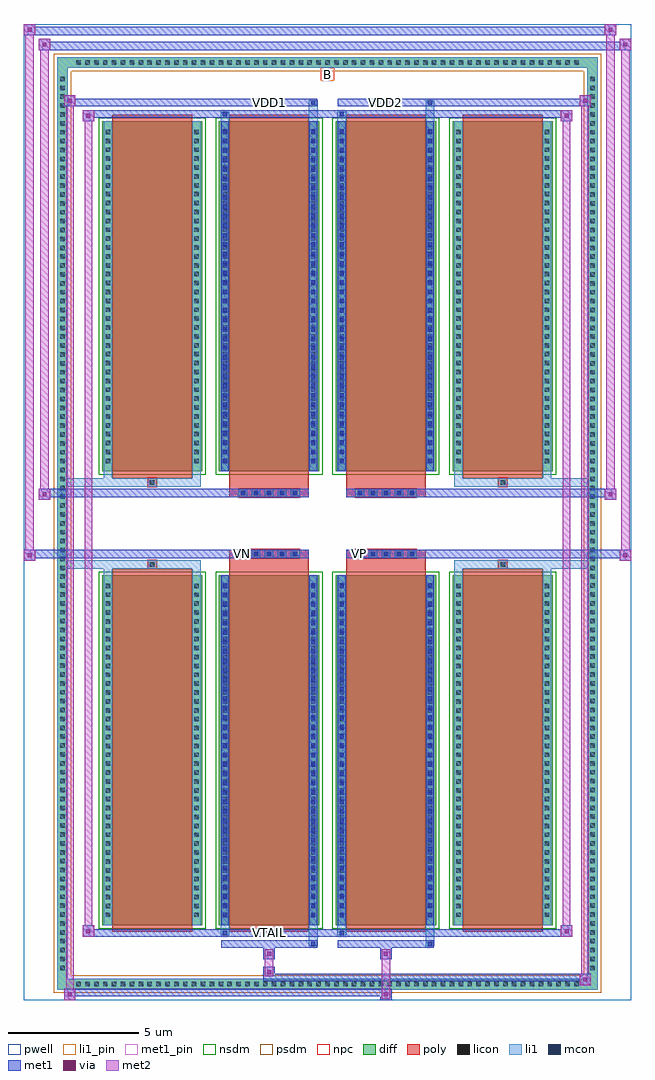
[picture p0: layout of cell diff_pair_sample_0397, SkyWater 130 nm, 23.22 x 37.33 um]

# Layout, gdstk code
import gdstk
lib = gdstk.Library(unit=1e-6, precision=5e-09)
def R(c, l, rs):  # rectangles x0, y0, x1, y1
    for r in rs: c.add(gdstk.rectangle(r[:2], r[2:], *l))
def A(c, l, x, y, w, h, nx, ny, dx, dy):  # array of equal rectangles
    R(c, l, [(x+i*dx, y+j*dy, x+i*dx+w, y+j*dy+h) for i in range(nx) for j in range(ny)])
def P(c, l, *ps):  # polygons
    for p in ps: c.add(gdstk.Polygon(p, *l))
pwell = (64, 44)
diff = (65, 20)
poly = (66, 20)
licon = (66, 44)
li1_pin = (67, 16)
li1 = (67, 20)
mcon = (67, 44)
met1_pin = (68, 16)
met1 = (68, 20)
via = (68, 44)
met2 = (69, 20)
nsdm = (93, 44)
psdm = (94, 20)
npc = (95, 20)

diff_pair_sample_0397 = lib.new_cell('diff_pair_sample_0397')
R(diff_pair_sample_0397, pwell, [(-11.61,-18.23,11.61,19.1), (-8.93,-16.42,-0.01,-0.8), (0.01,-16.42,8.93,-0.8), (-8.93,0.8,-0.01,16.42), (0.01,0.8,8.93,16.42)])
A(diff_pair_sample_0397, diff, -9.725, -17.83, 0.41, 0.41, 57, 2, 0.34, 35.25)
A(diff_pair_sample_0397, diff, -10.34, -17.205, 0.41, 0.41, 1, 101, 0, 0.34)
A(diff_pair_sample_0397, diff, 9.93, -17.205, 0.41, 0.41, 1, 101, 0, 0.34)
A(diff_pair_sample_0397, diff, -8.62, -15.375, 3.83, 13.39, 4, 2, 4.47, 17.36)
R(diff_pair_sample_0397, diff, [(-9.725,-17.83,9.725,-17.42), (-10.34,-17.205,-9.93,17.205), (9.93,-17.205,10.34,17.205), (-9.725,17.42,9.725,17.83)])
P(diff_pair_sample_0397, diff, [(10.34,17.83),(-10.34,17.83),(-10.34,-17.42),(-9.93,-17.42),(-9.93,17.42),(9.93,17.42),(9.93,-17.42),(-9.93,-17.42),(-10.34,-17.42),(-10.34,-17.83),(10.34,-17.83)])
A(diff_pair_sample_0397, poly, -8.23, -15.625, 3.05, 13.89, 4, 2, 4.47, 17.36)
A(diff_pair_sample_0397, poly, -3.4, -1.33, 0.33, 0.33, 5, 2, 0.5, 2.33)
A(diff_pair_sample_0397, poly, 1.07, -1.33, 0.33, 0.33, 5, 2, 0.5, 2.33)
R(diff_pair_sample_0397, poly, [(-6.87,-1.735,-6.54,-1.405), (-6.87,-1.735,-6.54,-1.405), (-3.76,-1.735,-0.71,-1.33), (0.71,-1.735,3.76,-1.33), (6.54,-1.735,6.87,-1.405), (6.54,-1.735,6.87,-1.405), (-3.76,-1.33,-0.71,-1), (0.71,-1.33,3.76,-1), (-3.76,1,-0.71,1.33), (0.71,1,3.76,1.33), (-3.76,1.33,-0.71,1.735), (0.71,1.33,3.76,1.735), (-6.87,1.405,-6.54,1.735), (-6.87,1.405,-6.54,1.735), (6.54,1.405,6.87,1.735), (6.54,1.405,6.87,1.735)])
A(diff_pair_sample_0397, licon, -9.605, -17.71, 0.17, 0.17, 57, 2, 0.34, 35.25)
A(diff_pair_sample_0397, licon, -10.22, -17.085, 0.17, 0.17, 1, 101, 0, 0.34)
A(diff_pair_sample_0397, licon, 10.05, -17.085, 0.17, 0.17, 1, 101, 0, 0.34)
A(diff_pair_sample_0397, licon, -8.48, -15.055, 0.17, 0.17, 1, 38, 0, 0.34)
A(diff_pair_sample_0397, licon, -5.1, -15.055, 0.17, 0.17, 1, 38, 0, 0.34)
A(diff_pair_sample_0397, licon, -4.01, -15.055, 0.17, 0.17, 1, 38, 0, 0.34)
A(diff_pair_sample_0397, licon, -0.63, -15.055, 0.17, 0.17, 1, 38, 0, 0.34)
A(diff_pair_sample_0397, licon, 0.46, -15.055, 0.17, 0.17, 1, 38, 0, 0.34)
A(diff_pair_sample_0397, licon, 3.84, -15.055, 0.17, 0.17, 1, 38, 0, 0.34)
A(diff_pair_sample_0397, licon, 4.93, -15.055, 0.17, 0.17, 1, 38, 0, 0.34)
A(diff_pair_sample_0397, licon, 8.31, -15.055, 0.17, 0.17, 1, 38, 0, 0.34)
A(diff_pair_sample_0397, licon, -3.32, -1.25, 0.17, 0.17, 5, 2, 0.5, 2.33)
A(diff_pair_sample_0397, licon, 1.15, -1.25, 0.17, 0.17, 5, 2, 0.5, 2.33)
A(diff_pair_sample_0397, licon, -8.48, 2.305, 0.17, 0.17, 1, 38, 0, 0.34)
A(diff_pair_sample_0397, licon, -5.1, 2.305, 0.17, 0.17, 1, 38, 0, 0.34)
A(diff_pair_sample_0397, licon, -4.01, 2.305, 0.17, 0.17, 1, 38, 0, 0.34)
A(diff_pair_sample_0397, licon, -0.63, 2.305, 0.17, 0.17, 1, 38, 0, 0.34)
A(diff_pair_sample_0397, licon, 0.46, 2.305, 0.17, 0.17, 1, 38, 0, 0.34)
A(diff_pair_sample_0397, licon, 3.84, 2.305, 0.17, 0.17, 1, 38, 0, 0.34)
A(diff_pair_sample_0397, licon, 4.93, 2.305, 0.17, 0.17, 1, 38, 0, 0.34)
A(diff_pair_sample_0397, licon, 8.31, 2.305, 0.17, 0.17, 1, 38, 0, 0.34)
R(diff_pair_sample_0397, licon, [(-6.79,-1.655,-6.62,-1.485), (6.62,-1.655,6.79,-1.485), (-6.79,1.485,-6.62,1.655), (6.62,1.485,6.79,1.655)])
R(diff_pair_sample_0397, li1_pin, [(-0.25,16.92,0.25,17.42)])
A(diff_pair_sample_0397, li1, -9.685, -17.79, 0.33, 0.33, 57, 2, 0.34, 35.25)
A(diff_pair_sample_0397, li1, -10.3, -17.165, 0.33, 0.33, 1, 101, 0, 0.34)
A(diff_pair_sample_0397, li1, 9.97, -17.165, 0.33, 0.33, 1, 101, 0, 0.34)
A(diff_pair_sample_0397, li1, -8.56, -15.135, 0.33, 0.33, 1, 38, 0, 0.34)
A(diff_pair_sample_0397, li1, -5.18, -15.135, 0.33, 0.33, 1, 38, 0, 0.34)
A(diff_pair_sample_0397, li1, -4.09, -15.135, 0.33, 0.33, 1, 38, 0, 0.34)
A(diff_pair_sample_0397, li1, -0.71, -15.135, 0.33, 0.33, 1, 38, 0, 0.34)
A(diff_pair_sample_0397, li1, 0.38, -15.135, 0.33, 0.33, 1, 38, 0, 0.34)
A(diff_pair_sample_0397, li1, 3.76, -15.135, 0.33, 0.33, 1, 38, 0, 0.34)
A(diff_pair_sample_0397, li1, 4.85, -15.135, 0.33, 0.33, 1, 38, 0, 0.34)
A(diff_pair_sample_0397, li1, 8.23, -15.135, 0.33, 0.33, 1, 38, 0, 0.34)
A(diff_pair_sample_0397, li1, -4.01, -15.065, 0.17, 0.17, 1, 36, 0, 0.36)
A(diff_pair_sample_0397, li1, -0.63, -15.065, 0.17, 0.17, 1, 36, 0, 0.36)
A(diff_pair_sample_0397, li1, 0.46, -15.065, 0.17, 0.17, 1, 36, 0, 0.36)
A(diff_pair_sample_0397, li1, 3.84, -15.065, 0.17, 0.17, 1, 36, 0, 0.36)
A(diff_pair_sample_0397, li1, -3.4, -1.33, 0.33, 0.33, 5, 2, 0.5, 2.33)
A(diff_pair_sample_0397, li1, 1.07, -1.33, 0.33, 0.33, 5, 2, 0.5, 2.33)
A(diff_pair_sample_0397, li1, -8.56, 2.225, 0.33, 0.33, 1, 38, 0, 0.34)
A(diff_pair_sample_0397, li1, -5.18, 2.225, 0.33, 0.33, 1, 38, 0, 0.34)
A(diff_pair_sample_0397, li1, -4.09, 2.225, 0.33, 0.33, 1, 38, 0, 0.34)
A(diff_pair_sample_0397, li1, -0.71, 2.225, 0.33, 0.33, 1, 38, 0, 0.34)
A(diff_pair_sample_0397, li1, 0.38, 2.225, 0.33, 0.33, 1, 38, 0, 0.34)
A(diff_pair_sample_0397, li1, 3.76, 2.225, 0.33, 0.33, 1, 38, 0, 0.34)
A(diff_pair_sample_0397, li1, 4.85, 2.225, 0.33, 0.33, 1, 38, 0, 0.34)
A(diff_pair_sample_0397, li1, 8.23, 2.225, 0.33, 0.33, 1, 38, 0, 0.34)
A(diff_pair_sample_0397, li1, -4.01, 2.295, 0.17, 0.17, 1, 36, 0, 0.36)
A(diff_pair_sample_0397, li1, -0.63, 2.295, 0.17, 0.17, 1, 36, 0, 0.36)
A(diff_pair_sample_0397, li1, 0.46, 2.295, 0.17, 0.17, 1, 36, 0, 0.36)
A(diff_pair_sample_0397, li1, 3.84, 2.295, 0.17, 0.17, 1, 36, 0, 0.36)
R(diff_pair_sample_0397, li1, [(-10.34,-17.83,-9.93,-17.42), (-10.34,-17.83,-9.93,-17.42), (-9.93,-17.83,9.93,-17.42), (9.93,-17.83,10.34,-17.42), (9.93,-17.83,10.34,-17.42), (-10.34,-17.42,-9.93,17.42), (9.93,-17.42,10.34,17.42), (-0.71,-16.18,-0.38,-15.375), (-0.63,-16.18,-0.46,-16.01), (3.76,-16.18,4.09,-15.375), (3.84,-16.18,4.01,-16.01), (-4.09,-15.75,-3.76,-15.375), (-4.01,-15.75,-3.84,-15.58), (0.38,-15.75,0.71,-15.375), (0.46,-15.75,0.63,-15.58), (-8.56,-15.375,-8.23,-1.985), (-5.18,-15.375,-4.85,-1.985), (-4.09,-15.375,-3.76,-1.985), (-0.71,-15.375,-0.38,-1.985), (0.38,-15.375,0.71,-1.985), (3.76,-15.375,4.09,-1.985), (4.85,-15.375,5.18,-1.985), (8.23,-15.375,8.56,-1.985), (-4.01,-15.065,-3.84,-2.295), (-0.63,-15.065,-0.46,-2.295), (0.46,-15.065,0.63,-2.295), (3.84,-15.065,4.01,-2.295), (-8.56,-1.985,-8.23,-1.405), (-5.18,-1.985,-4.85,-1.405), (4.85,-1.985,5.18,-1.405), (8.23,-1.985,8.56,-1.405), (-10.34,-1.735,-6.87,-1.405), (-8.56,-1.735,-6.87,-1.405), (-6.87,-1.735,-6.54,-1.405), (-6.54,-1.735,-4.85,-1.405), (4.85,-1.735,6.54,-1.405), (6.54,-1.735,6.87,-1.405), (6.54,-1.735,10.34,-1.405), (6.87,-1.735,8.56,-1.405), (-10.34,1.405,-6.87,1.735), (-8.56,1.405,-6.87,1.735), (-8.56,1.405,-8.23,1.985), (-6.87,1.405,-6.54,1.735), (-6.54,1.405,-4.85,1.735), (-5.18,1.405,-4.85,1.985), (4.85,1.405,6.54,1.735), (4.85,1.405,5.18,1.985), (6.54,1.405,6.87,1.735), (6.54,1.405,10.34,1.735), (6.87,1.405,8.56,1.735), (8.23,1.405,8.56,1.985), (-8.56,1.985,-8.23,15.375), (-5.18,1.985,-4.85,15.375), (-4.09,1.985,-3.76,15.375), (-0.71,1.985,-0.38,15.375), (0.38,1.985,0.71,15.375), (3.76,1.985,4.09,15.375), (4.85,1.985,5.18,15.375), (8.23,1.985,8.56,15.375), (-4.01,2.295,-3.84,15.065), (-0.63,2.295,-0.46,15.065), (0.46,2.295,0.63,15.065), (3.84,2.295,4.01,15.065), (-4.09,15.375,-3.76,15.75), (-0.71,15.375,-0.38,16.18), (0.38,15.375,0.71,15.75), (3.76,15.375,4.09,16.18), (-4.01,15.58,-3.84,15.75), (0.46,15.58,0.63,15.75), (-0.63,16.01,-0.46,16.18), (3.84,16.01,4.01,16.18), (-10.34,17.42,-9.93,17.83), (-10.34,17.42,-9.93,17.83), (-9.93,17.42,9.93,17.83), (9.93,17.42,10.34,17.83), (9.93,17.42,10.34,17.83)])
A(diff_pair_sample_0397, mcon, -4.01, -15.065, 0.17, 0.17, 1, 36, 0, 0.36)
A(diff_pair_sample_0397, mcon, -0.63, -15.065, 0.17, 0.17, 1, 36, 0, 0.36)
A(diff_pair_sample_0397, mcon, 0.46, -15.065, 0.17, 0.17, 1, 36, 0, 0.36)
A(diff_pair_sample_0397, mcon, 3.84, -15.065, 0.17, 0.17, 1, 36, 0, 0.36)
A(diff_pair_sample_0397, mcon, -3.32, -1.25, 0.17, 0.17, 5, 2, 0.5, 2.33)
A(diff_pair_sample_0397, mcon, 1.15, -1.25, 0.17, 0.17, 5, 2, 0.5, 2.33)
A(diff_pair_sample_0397, mcon, -4.01, 2.295, 0.17, 0.17, 1, 36, 0, 0.36)
A(diff_pair_sample_0397, mcon, -0.63, 2.295, 0.17, 0.17, 1, 36, 0, 0.36)
A(diff_pair_sample_0397, mcon, 0.46, 2.295, 0.17, 0.17, 1, 36, 0, 0.36)
A(diff_pair_sample_0397, mcon, 3.84, 2.295, 0.17, 0.17, 1, 36, 0, 0.36)
R(diff_pair_sample_0397, mcon, [(-0.63,-16.18,-0.46,-16.01), (3.84,-16.18,4.01,-16.01), (-4.01,-15.75,-3.84,-15.58), (0.46,-15.75,0.63,-15.58), (-4.01,15.58,-3.84,15.75), (0.46,15.58,0.63,15.75), (-0.63,16.01,-0.46,16.18), (3.84,16.01,4.01,16.18)])
R(diff_pair_sample_0397, met1_pin, [(-2.37,-15.79,-2.1,-15.52), (-3.37,-1.29,-3.1,-1.02), (1.1,-1.29,1.37,-1.02), (-2.37,15.97,-2.1,16.24), (2.1,15.97,2.37,16.24)])
A(diff_pair_sample_0397, met1, -4.07, -15.125, 0.29, 0.29, 1, 36, 0, 0.36)
A(diff_pair_sample_0397, met1, -0.69, -15.125, 0.29, 0.29, 1, 36, 0, 0.36)
A(diff_pair_sample_0397, met1, 0.4, -15.125, 0.29, 0.29, 1, 36, 0, 0.36)
A(diff_pair_sample_0397, met1, 3.78, -15.125, 0.29, 0.29, 1, 36, 0, 0.36)
A(diff_pair_sample_0397, met1, -3.38, -1.31, 0.29, 0.29, 5, 2, 0.5, 2.33)
A(diff_pair_sample_0397, met1, 1.09, -1.31, 0.29, 0.29, 5, 2, 0.5, 2.33)
A(diff_pair_sample_0397, met1, -4.07, 2.235, 0.29, 0.29, 1, 36, 0, 0.36)
A(diff_pair_sample_0397, met1, -0.69, 2.235, 0.29, 0.29, 1, 36, 0, 0.36)
A(diff_pair_sample_0397, met1, 0.4, 2.235, 0.29, 0.29, 1, 36, 0, 0.36)
A(diff_pair_sample_0397, met1, 3.78, 2.235, 0.29, 0.29, 1, 36, 0, 0.36)
R(diff_pair_sample_0397, met1, [(-10.07,-18.23,-9.64,-17.8), (2.02,-18.23,2.45,-17.8), (-10.07,-18.09,2.45,-17.8), (9.64,-17.66,10.07,-17.23), (-2.45,-17.52,10.07,-17.23), (-2.45,-17.38,-2.02,-16.95), (-2.45,-16.67,-2.02,-16.24), (2.02,-16.67,2.45,-16.24), (-4.07,-16.24,-0.4,-15.95), (-0.69,-16.24,-0.4,-15.95), (0.4,-16.24,4.07,-15.95), (3.78,-16.24,4.07,-15.95), (-9.36,-15.81,-8.93,-15.38), (-9.36,-15.81,-4.07,-15.52), (-4.07,-15.81,-3.78,-15.52), (-4.07,-15.81,-0.4,-15.52), (-0.4,-15.81,0.4,-15.52), (0.4,-15.81,0.69,-15.52), (0.4,-15.81,4.07,-15.52), (4.07,-15.81,9.36,-15.52), (8.93,-15.81,9.36,-15.38), (-4.07,-15.375,-3.78,-1.985), (-0.69,-15.375,-0.4,-1.985), (0.4,-15.375,0.69,-1.985), (3.78,-15.375,4.07,-1.985), (-11.61,-1.43,-11.18,-1), (11.18,-1.43,11.61,-1), (-11.61,-1.33,-0.71,-1), (-3.76,-1.33,-0.71,-1), (0.71,-1.33,3.76,-1), (0.71,-1.33,11.61,-1), (-11.04,0.9,-10.61,1.33), (10.61,0.9,11.04,1.33), (-11.04,1,-3.76,1.33), (-3.76,1,-0.71,1.33), (0.71,1,3.76,1.33), (3.76,1,11.04,1.33), (-4.07,1.985,-3.78,15.375), (-0.69,1.985,-0.4,15.375), (0.4,1.985,0.69,15.375), (3.78,1.985,4.07,15.375), (-9.36,15.38,-8.93,15.81), (8.93,15.38,9.36,15.81), (-9.36,15.52,-4.07,15.81), (-4.07,15.52,-3.78,15.81), (-4.07,15.52,-0.4,15.81), (-0.4,15.52,0.4,15.81), (0.4,15.52,0.69,15.81), (0.4,15.52,4.07,15.81), (4.07,15.52,9.36,15.81), (-10.07,15.95,-9.64,16.38), (-10.07,15.95,-4.07,16.24), (-4.07,15.95,-0.4,16.24), (-0.69,15.95,-0.4,16.24), (0.4,15.95,4.07,16.24), (3.78,15.95,4.07,16.24), (4.07,15.95,10.07,16.24), (9.64,15.95,10.07,16.38), (-11.04,18.1,-10.61,18.53), (-11.04,18.1,-8.93,18.43), (-8.93,18.1,8.93,18.43), (8.93,18.1,11.61,18.43), (11.18,18.1,11.61,18.53), (-11.61,18.67,-11.18,19.1), (-11.61,18.67,-8.93,19), (-8.93,18.67,8.93,19), (8.93,18.67,11.04,19), (10.61,18.67,11.04,19.1)])
R(diff_pair_sample_0397, via, [(-9.93,-18.09,-9.78,-17.94), (2.16,-18.09,2.31,-17.94), (9.78,-17.52,9.93,-17.37), (-2.31,-17.24,-2.16,-17.09), (-2.31,-16.53,-2.16,-16.38), (2.16,-16.53,2.31,-16.38), (-9.22,-15.67,-9.07,-15.52), (9.07,-15.67,9.22,-15.52), (-11.47,-1.29,-11.32,-1.14), (11.32,-1.29,11.47,-1.14), (-10.9,1.04,-10.75,1.19), (10.75,1.04,10.9,1.19), (-9.22,15.52,-9.07,15.67), (9.07,15.52,9.22,15.67), (-9.93,16.09,-9.78,16.24), (9.78,16.09,9.93,16.24), (-10.9,18.24,-10.75,18.39), (11.32,18.24,11.47,18.39), (-11.47,18.81,-11.32,18.96), (10.75,18.81,10.9,18.96)])
R(diff_pair_sample_0397, met2, [(-10.07,-18.23,-9.64,-17.8), (-10,-18.23,-9.71,16.38), (-9.71,-18.23,-9.64,-17.8), (-10.02,-18.18,-9.69,-17.85), (2.07,-18.18,2.4,-17.85), (2.07,-17.85,2.4,-16.62), (9.64,-17.66,10.07,-17.23), (9.71,-17.66,10,16.38), (10,-17.66,10.07,-17.23), (9.69,-17.61,10.02,-17.28), (-2.4,-17.33,-2.07,-17), (-2.4,-17,-2.07,-16.62), (-2.4,-16.62,-2.07,-16.29), (2.07,-16.62,2.4,-16.29), (-9.36,-15.81,-8.93,-15.38), (-9.29,-15.81,-9,15.81), (-9,-15.81,-8.93,-15.38), (8.93,-15.81,9.36,-15.38), (9,-15.81,9.29,15.81), (9.29,-15.81,9.36,-15.38), (-9.31,-15.76,-8.98,-15.43), (8.98,-15.76,9.31,-15.43), (-11.61,-1.43,-11.18,-1), (-11.56,-1.43,-11.23,19.1), (-11.23,-1.43,-11.18,-1), (11.18,-1.43,11.61,-1), (11.23,-1.43,11.56,18.53), (11.56,-1.43,11.61,-1), (-11.56,-1.38,-11.23,-1.05), (11.23,-1.38,11.56,-1.05), (-11.04,0.9,-10.61,1.33), (-10.99,0.9,-10.66,18.53), (-10.66,0.9,-10.61,1.33), (10.61,0.9,11.04,1.33), (10.66,0.9,10.99,19.1), (10.99,0.9,11.04,1.33), (-10.99,0.95,-10.66,1.28), (10.66,0.95,10.99,1.28), (-9.36,15.38,-8.93,15.81), (-9,15.38,-8.93,15.81), (8.93,15.38,9.36,15.81), (9.29,15.38,9.36,15.81), (-9.31,15.43,-8.98,15.76), (8.98,15.43,9.31,15.76), (-10.07,15.95,-9.64,16.38), (-9.71,15.95,-9.64,16.38), (9.64,15.95,10.07,16.38), (10,15.95,10.07,16.38), (-10.02,16,-9.69,16.33), (9.69,16,10.02,16.33), (-11.04,18.1,-10.61,18.53), (-10.66,18.1,-10.61,18.53), (11.18,18.1,11.61,18.53), (11.56,18.1,11.61,18.53), (-10.99,18.15,-10.66,18.48), (11.23,18.15,11.56,18.48), (-11.61,18.67,-11.18,19.1), (-11.23,18.67,-11.18,19.1), (10.61,18.67,11.04,19.1), (10.99,18.67,11.04,19.1), (-11.56,18.72,-11.23,19.05), (10.66,18.72,10.99,19.05)])
A(diff_pair_sample_0397, nsdm, -8.75, -15.505, 4.09, 13.65, 4, 2, 4.47, 17.36)
P(diff_pair_sample_0397, psdm, [(10.47,17.96),(-10.47,17.96),(-10.47,-17.29),(-9.8,-17.29),(-9.8,17.29),(9.8,17.29),(9.8,-17.29),(-9.8,-17.29),(-10.47,-17.29),(-10.47,-17.96),(10.47,-17.96)])
A(diff_pair_sample_0397, npc, -3.42, -1.35, 0.37, 0.37, 5, 2, 0.5, 2.33)
A(diff_pair_sample_0397, npc, 1.05, -1.35, 0.37, 0.37, 5, 2, 0.5, 2.33)
R(diff_pair_sample_0397, npc, [(-6.89,-1.755,-6.52,-1.385), (6.52,-1.755,6.89,-1.385), (-3.42,-1.35,-2.55,-0.98), (-3.42,-1.35,-2.55,-0.98), (-2.92,-1.35,-2.05,-0.98), (-2.92,-1.35,-2.05,-0.98), (-2.42,-1.35,-1.55,-0.98), (-2.42,-1.35,-1.55,-0.98), (-1.92,-1.35,-1.05,-0.98), (-1.92,-1.35,-1.05,-0.98), (1.05,-1.35,1.92,-0.98), (1.05,-1.35,1.92,-0.98), (1.55,-1.35,2.42,-0.98), (1.55,-1.35,2.42,-0.98), (2.05,-1.35,2.92,-0.98), (2.05,-1.35,2.92,-0.98), (2.55,-1.35,3.42,-0.98), (2.55,-1.35,3.42,-0.98), (-3.42,0.98,-2.55,1.35), (-3.42,0.98,-2.55,1.35), (-2.92,0.98,-2.05,1.35), (-2.92,0.98,-2.05,1.35), (-2.42,0.98,-1.55,1.35), (-2.42,0.98,-1.55,1.35), (-1.92,0.98,-1.05,1.35), (-1.92,0.98,-1.05,1.35), (1.05,0.98,1.92,1.35), (1.05,0.98,1.92,1.35), (1.55,0.98,2.42,1.35), (1.55,0.98,2.42,1.35), (2.05,0.98,2.92,1.35), (2.05,0.98,2.92,1.35), (2.55,0.98,3.42,1.35), (2.55,0.98,3.42,1.35), (-6.89,1.385,-6.52,1.755), (6.52,1.385,6.89,1.755)])
diff_pair_sample_0397.add(gdstk.Label('VTAIL', (-2.235,-15.655), layer=68, texttype=5))
diff_pair_sample_0397.add(gdstk.Label('VN', (-3.235,-1.155), layer=68, texttype=5))
diff_pair_sample_0397.add(gdstk.Label('VP', (1.235,-1.155), layer=68, texttype=5))
diff_pair_sample_0397.add(gdstk.Label('B', (0,17.17), layer=67, texttype=5))
diff_pair_sample_0397.add(gdstk.Label('VDD2', (2.235,16.105), layer=68, texttype=5))
diff_pair_sample_0397.add(gdstk.Label('VDD1', (-2.235,16.105), layer=68, texttype=5))

lib.write_gds('diff_pair_sample_0397.gds')
